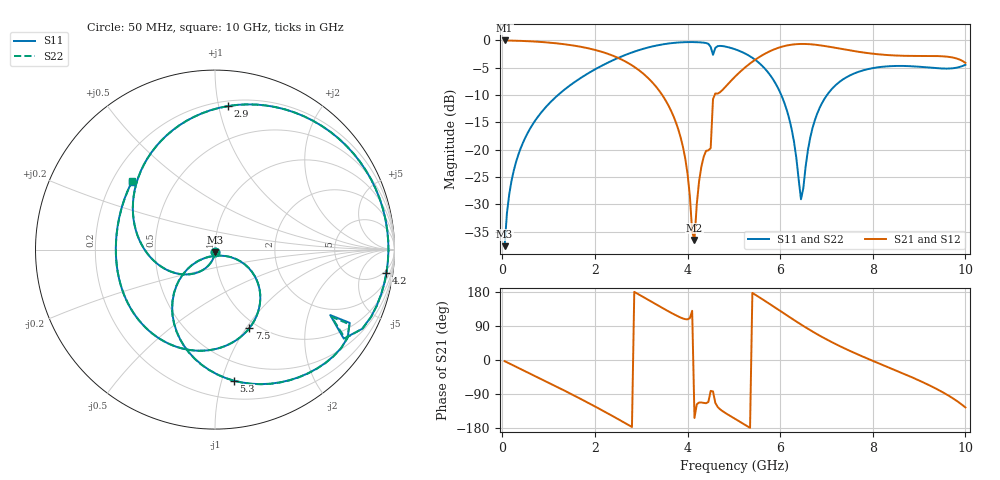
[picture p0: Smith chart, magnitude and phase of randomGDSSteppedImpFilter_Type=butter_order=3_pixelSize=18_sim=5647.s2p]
! freq	dB(S11)	phase(S11)	dB(S12)	phase(S12)
!  dB(S21)	phase(S21)	dB(S22)	phase(S22)
!S-par simulation data
#  GHz  S  DB  R 50
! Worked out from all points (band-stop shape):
!   200 points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, 50 MHz to 10 GHz, reference 50 ohm
!   highest |S21| = 0.00 dB at 50 MHz (marker M1); lowest = -36.5 dB at 4.15 GHz (marker M2)
!   |S21| within 3 dB of the highest: start of sweep to 2.45 GHz; 5.556 GHz to 9.638 GHz (4.082 GHz wide, 53.7 % of centre)
!   lowest |S11| = -37.6 dB at 50 MHz (marker M3), VSWR 1.03, Z = 49.9 - j1.31 ohm
!   |S11| at or under -10 dB: start of sweep to 1.202 GHz; 6.024 GHz to 7.011 GHz (986.8 MHz wide, 15.1 % of centre)
!   |S22| runs from -37.6 to -0.3 dB; largest |S21 - S12| = 0
!   S11 on the Smith chart (normalised r, x): 50 MHz: 1.00, -0.03; 2.9 GHz: 0.24, +1.06; 4.2 GHz: 4, -14; 5.3 GHz: 0.34, -1.09; 7.5 GHz: 0.91, -1.04; 10 GHz: 0.28, +0.33
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0.05  -37.63 -92.6  -0.00 -3.0  -0.00 -3.0  -37.63 -92.6
0.2  -25.64 -102.0  -0.03 -12.0  -0.03 -12.0  -25.65 -102.0
0.5  -17.72 -120.3  -0.12 -29.8  -0.12 -29.8  -17.72 -120.3
1.15  -10.39 -159.7  -0.51 -69.0  -0.51 -69.0  -10.39 -159.7
1.75  -6.56 162.7  -1.25 -106.4  -1.25 -106.4  -6.56 162.7
2.35  -3.78 123.2  -2.66 -145.8  -2.66 -145.8  -3.78 123.1
2.9  -1.91 84.9  -5.12 176.3  -5.12 176.3  -1.91 84.8
3.4  -0.82 49.2  -9.34 141.2  -9.34 141.2  -0.82 49.1
3.9  -0.33 13.6  -19.44 109.6  -19.44 109.6  -0.33 13.5
4.15  -0.31 -4.2  -36.48 -153.0  -36.48 -153.0  -0.31 -4.2
4.2  -0.32 -7.8  -29.92 -116.8  -29.92 -116.8  -0.32 -7.8
4.5  -1.19 -34.7  -19.70 -81.4  -19.70 -81.4  -1.14 -34.3
4.55  -2.64 -29.6  -10.74 -82.9  -10.74 -82.9  -2.50 -30.0
5.05  -1.68 -63.9  -6.42 -157.0  -6.42 -157.0  -1.68 -64.0
5.3  -2.65 -81.9  -4.54 -175.4  -4.54 -175.4  -2.65 -82.1
6.1  -11.63 -139.5  -1.01 121.5  -1.01 121.5  -11.63 -139.7
6.45  -29.05 -93.9  -0.64 93.7  -0.64 93.7  -29.17 -94.0
6.7  -16.00 -24.9  -0.73 75.0  -0.73 75.0  -16.00 -24.8
7.5  -6.42 -66.3  -1.81 24.4  -1.81 24.4  -6.42 -66.3
8.35  -4.72 -108.9  -2.69 -20.0  -2.69 -20.0  -4.72 -109.0
9.4  -5.09 -166.6  -2.86 -77.8  -2.86 -77.8  -5.09 -166.8
10  -4.46 140.7  -4.10 -125.1  -4.10 -125.1  -4.47 140.3
